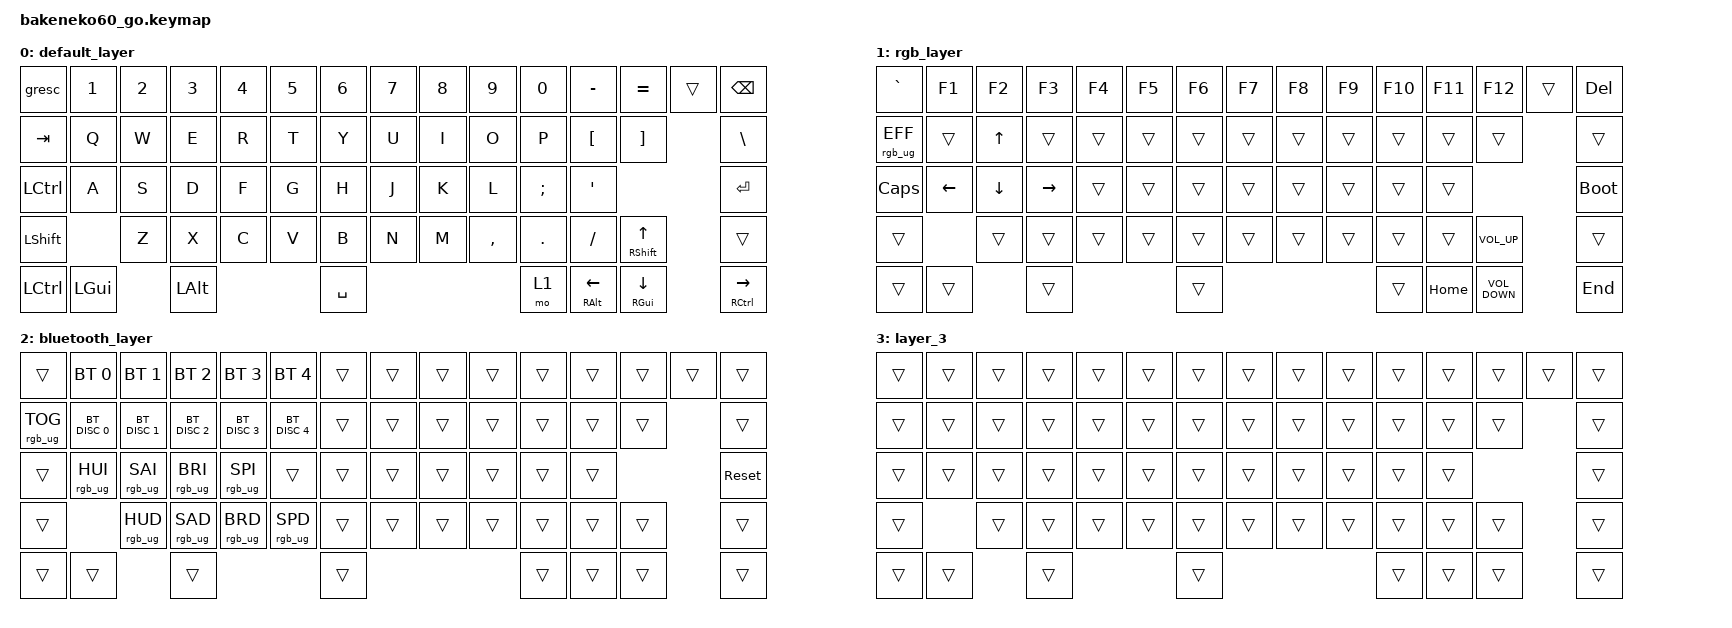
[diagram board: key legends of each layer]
/*
 * Copyright (c) 2023 Andrew Kannan
 *
 * SPDX-License-Identifier: MIT
 */

#include <behaviors.dtsi>
#include <dt-bindings/zmk/bt.h>
#include <dt-bindings/zmk/keys.h>
#include <dt-bindings/zmk/rgb.h>

&gresc {
    mods = <(MOD_LGUI|MOD_RGUI|MOD_LCTL|MOD_RCTL)>;
    keep-mods = <(MOD_LSFT|MOD_RSFT)>;
};

/ {
    behaviors {
        new_behavior: new_behavior {
            compatible = "zmk,behavior-mod-morph";
            label = "NEW_BEHAVIOR";
            bindings = <&kp ESCAPE>, <&kp GRAVE>;

            #binding-cells = <0>;
            mods = <(MOD_LCTL|MOD_RCTL)>;
            keep-mods = <(MOD_LSFT|MOD_RSFT)>;
        };
    };

    keymap {
        compatible = "zmk,keymap";

        default_layer {
            // ------------------------------------------------------------------------------------------
            // | ESC |  1  |  2  |  3  |  4  |  5  |  6  |  7  |  8  |  9  |  0  |  -  |  =  | BKSP|BKSP|
            // | TAB  |  Q  |  W  |  E  |  R  |  T  |  Y  |  U  |  I  |  O  |  P  |  [  |  ]  |   "|"   |
            // | CAPS  |  A  |  S  |  D  |  F  |  G  |  H  |  J  |  K  |  L  |  ;  |  '  |     ENTER    |
            // |  SHIFT  |  Z  |  X  |  C  |  V  |  B  |  N  |  M  |  ,  |  .  |  /  |  SHIFT  | MO(1)  |
            // |  CTL  |  WIN  |  ALT  |            SPACE              |  ALT  |  WIN  |  MO(1) |  CTL  |
            // ------------------------------------------------------------------------------------------

            bindings = <
&gresc            &kp N1    &kp N2  &kp N3    &kp N4  &kp N5  &kp N6     &kp N7  &kp N8  &kp N9     &kp N0    &kp MINUS           &kp EQUAL           &trans  &kp BACKSPACE
&kp TAB           &kp Q     &kp W   &kp E     &kp R   &kp T   &kp Y      &kp U   &kp I   &kp O      &kp P     &kp LBKT            &kp RBKT                    &kp BACKSLASH
&kp LEFT_CONTROL  &kp A     &kp S   &kp D     &kp F   &kp G   &kp H      &kp J   &kp K   &kp L      &kp SEMI  &kp SQT                                         &kp RET
&kp LSHFT                   &kp Z   &kp X     &kp C   &kp V   &kp B      &kp N   &kp M   &kp COMMA  &kp DOT   &kp FSLH            &mt RSHFT UP_ARROW          &trans
&kp LCTRL         &kp LGUI          &kp LALT                  &kp SPACE                             &mo 1     &mt RIGHT_ALT LEFT  &mt RIGHT_GUI DOWN          &mt RCTRL RIGHT
            >;
        };

        rgb_layer {
            // ------------------------------------------------------------------------------------------------
            // |    `   | F1  | F2  | F3  | F4  | F5  | F6  | F7  | F8  | F9  | F10  | F11 | F12 |     | DEL  |
            // | EFCT REV|   |  UP |   | HUEUP | SATUP | BRIUP | SPDUP |      |  PGUP |    |     |    |       |
            // | EFCT FWD | LT |  DN  | RT | HUEDN | SATDN | BRIDN | SPDDN | HOME | PGDN | END  |  | BOOTLDR  |
            // |             |     |      |      |     |     |     |     |     |     |     |         |        |
            // |         |      |      |             TOG RGB                | PRT SCR |       |       |  MO(2)|
            // ------------------------------------------------------------------------------------------------

            bindings = <
&kp GRAVE        &kp F1    &kp F2        &kp F3     &kp F4  &kp F5  &kp F6  &kp F7  &kp F8  &kp F9  &kp F10  &kp F11   &kp F12            &trans  &kp DELETE
&rgb_ug RGB_EFF  &trans    &kp UP_ARROW  &trans     &trans  &trans  &trans  &trans  &trans  &trans  &trans   &trans    &trans                     &trans
&kp CAPSLOCK     &kp LEFT  &kp DOWN      &kp RIGHT  &trans  &trans  &trans  &trans  &trans  &trans  &trans   &trans                               &bootloader
&trans                     &trans        &trans     &trans  &trans  &trans  &trans  &trans  &trans  &trans   &trans    &kp K_VOLUME_UP            &trans
&trans           &trans                  &trans                     &trans                          &trans   &kp HOME  &kp K_VOLUME_DOWN          &kp END
            >;
        };

        bluetooth_layer {
            // ------------------------------------------------------------------------------------------------
            // | BT CLR |     |     |     |     |     |     |     |     |     |     |    |    |       |       |
            // |  BT 1   |   |     |   |       |       |       |       |   |     |    |     |     |           |
            // |   BT 2   |    |      |    |       |       |       |       |      |      |      |  |   Reset  |
            // |    BT 3     |     |      |      |     |     |     |     |     |     |     |         |        |
            // |   BT 4  |      |      |                                    |         |       |       |       |
            // ------------------------------------------------------------------------------------------------

            bindings = <
&trans           &bt BT_SEL 0     &bt BT_SEL 1     &bt BT_SEL 2     &bt BT_SEL 3     &bt BT_SEL 4     &trans  &trans  &trans  &trans  &trans  &trans  &trans  &trans  &trans
&rgb_ug RGB_TOG  &bt BT_DISC 0    &bt BT_DISC 1    &bt BT_DISC 2    &bt BT_DISC 3    &bt BT_DISC 4    &trans  &trans  &trans  &trans  &trans  &trans  &trans          &trans
&trans           &rgb_ug RGB_HUI  &rgb_ug RGB_SAI  &rgb_ug RGB_BRI  &rgb_ug RGB_SPI  &trans           &trans  &trans  &trans  &trans  &trans  &trans                  &sys_reset
&trans                            &rgb_ug RGB_HUD  &rgb_ug RGB_SAD  &rgb_ug RGB_BRD  &rgb_ug RGB_SPD  &trans  &trans  &trans  &trans  &trans  &trans  &trans          &trans
&trans           &trans                            &trans                                             &trans                          &trans  &trans  &trans          &trans
            >;
        };

        layer_3 {
            bindings = <
&trans  &trans  &trans  &trans  &trans  &trans  &trans  &trans  &trans  &trans  &trans  &trans  &trans  &trans  &trans
&trans  &trans  &trans  &trans  &trans  &trans  &trans  &trans  &trans  &trans  &trans  &trans  &trans          &trans
&trans  &trans  &trans  &trans  &trans  &trans  &trans  &trans  &trans  &trans  &trans  &trans                  &trans
&trans          &trans  &trans  &trans  &trans  &trans  &trans  &trans  &trans  &trans  &trans  &trans          &trans
&trans  &trans          &trans                  &trans                          &trans  &trans  &trans          &trans
            >;
        };
    };

    combos {
        compatible = "zmk,combos";

        combo_rgb_bt {
            timeout-ms = <50>;
            key-positions = <59 60>;
            bindings = <&mo 2>;
        };

        ctrl_tab_fn {
            bindings = <&mo 1>;
            key-positions = <29 42>;
            timeout-ms = <30>;
        };

        win_esc_tilde {
            bindings = <&kp TILDE>;
            key-positions = <56 0>;
            timeout-ms = <50>;
        };
    };
};
